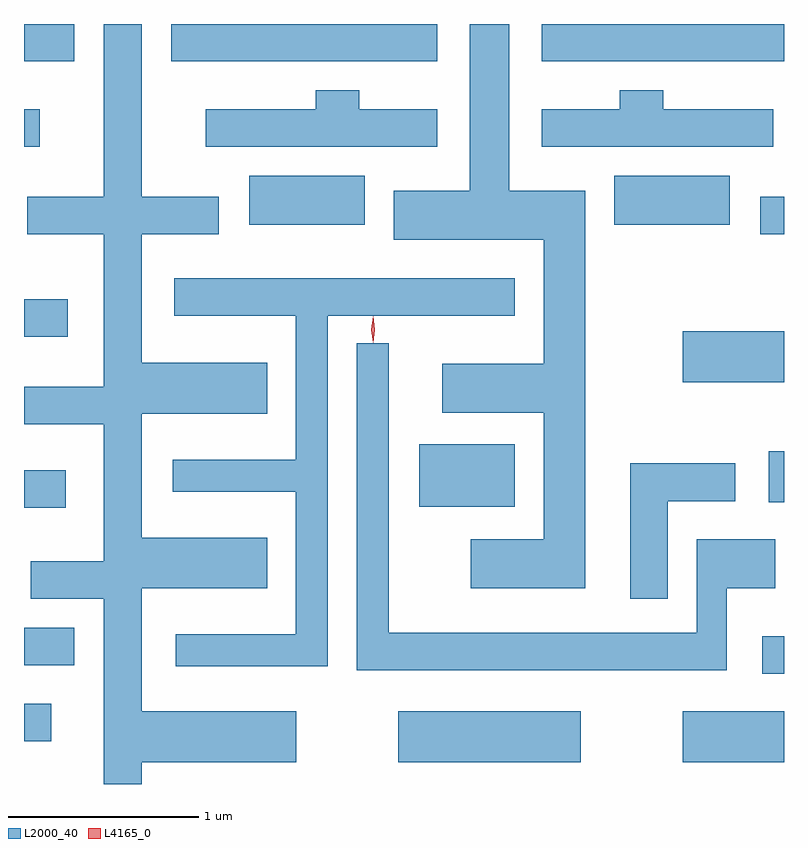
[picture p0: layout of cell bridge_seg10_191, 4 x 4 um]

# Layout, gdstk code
import gdstk
lib = gdstk.Library(unit=1e-6, precision=1e-09)
def R(c, l, rs):  # rectangles x0, y0, x1, y1
    for r in rs: c.add(gdstk.rectangle(r[:2], r[2:], *l))
def P(c, l, *ps):  # polygons
    for p in ps: c.add(gdstk.Polygon(p, *l))
L2000_40 = (2000, 40)
L4165_0 = (4165, 0)

bridge_seg10_191 = lib.new_cell('bridge_seg10_191')
R(bridge_seg10_191, L2000_40, [(1719.901,2139.966,1720.859,2140.234), (1721.396,2139.966,1721.93,2140.234), (1717.93,2140.076,1718.074,2140.274), (1721.816,2140.431,1721.93,2140.629), (1717.93,2140.476,1718.194,2140.674), (1717.93,2141.306,1718.149,2141.504), (1720.011,2141.311,1720.514,2141.639), (1721.851,2141.336,1721.93,2141.604), (1721.396,2141.966,1721.93,2142.234), (1717.93,2142.206,1718.159,2142.404), (1721.806,2142.746,1721.93,2142.944), (1719.116,2142.796,1719.724,2143.054), (1721.036,2142.796,1721.644,2143.054), (1717.93,2143.206,1718.014,2143.404), (1717.93,2143.656,1718.194,2143.852), (1718.706,2143.656,1720.104,2143.852), (1720.656,2143.656,1721.93,2143.852)])
P(bridge_seg10_191, L2000_40, [(1720.884,2142.974),(1720.484,2142.974),(1720.484,2143.852),(1720.276,2143.852),(1720.276,2142.974),(1719.876,2142.974),(1719.876,2142.716),(1720.666,2142.716),(1720.666,2142.064),(1720.131,2142.064),(1720.131,2141.806),(1720.666,2141.806),(1720.666,2141.139),(1720.281,2141.139),(1720.281,2140.881),(1720.884,2140.881)],
  [(1721.874,2143.404),(1721.294,2143.404),(1721.294,2143.504),(1721.066,2143.504),(1721.066,2143.404),(1720.656,2143.404),(1720.656,2143.206),(1721.874,2143.206)],
  [(1720.104,2143.404),(1719.694,2143.404),(1719.694,2143.504),(1719.466,2143.504),(1719.466,2143.404),(1718.886,2143.404),(1718.886,2143.206),(1720.104,2143.206)],
  [(1719.529,2142.316),(1720.514,2142.316),(1720.514,2142.514),(1718.721,2142.514),(1718.721,2142.316),(1719.361,2142.316),(1719.361,2141.559),(1718.713,2141.559),(1718.713,2141.391),(1719.361,2141.391),(1719.361,2140.639),(1718.728,2140.639),(1718.728,2140.471),(1719.529,2140.471)],
  [(1721.629,2140.881),(1721.884,2140.881),(1721.884,2141.139),(1721.471,2141.139),(1721.471,2140.649),(1719.849,2140.649),(1719.849,2142.173),(1719.681,2142.173),(1719.681,2140.451),(1721.629,2140.451)],
  [(1721.319,2141.341),(1721.674,2141.341),(1721.674,2141.539),(1721.121,2141.539),(1721.121,2140.826),(1721.319,2140.826)],
  [(1719.209,2140.881),(1719.209,2141.149),(1718.549,2141.149),(1718.549,2141.801),(1719.209,2141.801),(1719.209,2142.069),(1718.549,2142.069),(1718.549,2142.746),(1718.954,2142.746),(1718.954,2142.944),(1718.549,2142.944),(1718.549,2143.852),(1718.351,2143.852),(1718.351,2142.944),(1717.946,2142.944),(1717.946,2142.746),(1718.351,2142.746),(1718.351,2141.944),(1717.93,2141.944),(1717.93,2141.746),(1718.351,2141.746),(1718.351,2141.024),(1717.966,2141.024),(1717.966,2140.826),(1718.351,2140.826),(1718.351,2139.852),(1718.549,2139.852),(1718.549,2139.966),(1719.364,2139.966),(1719.364,2140.234),(1718.549,2140.234),(1718.549,2140.881)])
P(bridge_seg10_191, L4165_0, [(1719.767,2142.178),(1719.767,2142.178),(1719.757,2142.244),(1719.767,2142.311),(1719.767,2142.311),(1719.768,2142.311),(1719.777,2142.244),(1719.768,2142.178)],
  [(1719.767,2142.174),(1719.767,2142.175),(1719.757,2142.244),(1719.767,2142.313),(1719.767,2142.314),(1719.768,2142.313),(1719.777,2142.244),(1719.768,2142.175)])

lib.write_gds('bridge_seg10_191.gds')
